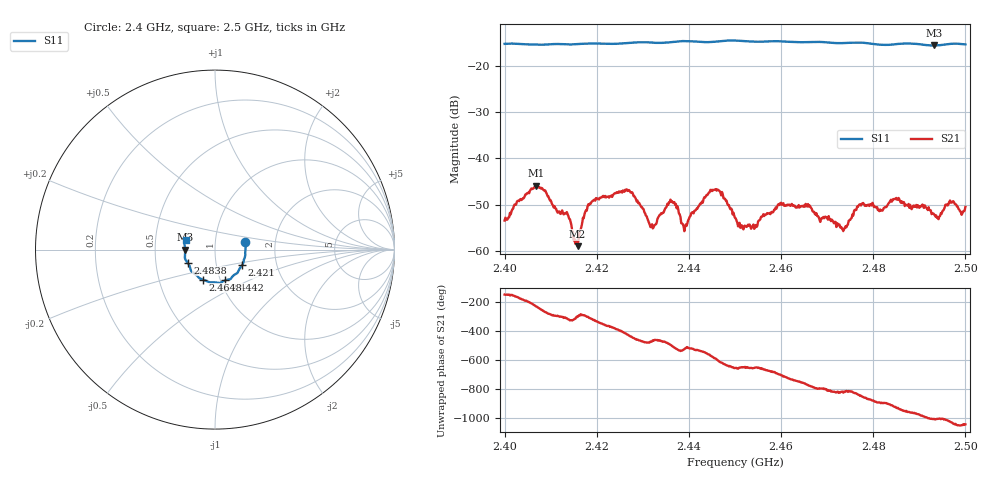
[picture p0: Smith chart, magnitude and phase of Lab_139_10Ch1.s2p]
# Hz S RI R 50
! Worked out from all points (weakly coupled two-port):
!   601 points, 2.4 GHz to 2.5 GHz, reference 50 ohm
!   highest |S21| = -45.90 dB at 2.4068 GHz (marker M1); lowest = -59.0 dB at 2.4158 GHz (marker M2)
!   lowest |S11| = -15.6 dB at 2.4932 GHz (marker M3), VSWR 1.40, Z = 35.8 - j0.0727 ohm
!   |S11| at or under -10 dB: start of sweep to end of sweep
!   S12 and S22 are empty: the file has one direction only
!   S11 on the Smith chart (normalised r, x): 2.4 GHz: 1.40, +0.12; 2.421 GHz: 1.33, -0.24; 2.4442 GHz: 1.05, -0.37; 2.4648 GHz: 0.83, -0.29; 2.4838 GHz: 0.73, -0.11; 2.5 GHz: 0.72, +0.08
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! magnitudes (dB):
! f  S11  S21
! 2.4 GHz  -15.3  -53.4
! 2.4068 GHz  -15.4  -45.9
! 2.4158 GHz  -15.3  -59.0
! 2.4167 GHz  -15.2  -54.8
! 2.421 GHz  -15.2  -48.4
! 2.4267 GHz  -15.1  -47.1
! 2.4318 GHz  -15.0  -54.7
! 2.4333 GHz  -15.0  -52.8
! 2.4363 GHz  -14.9  -49.3
! 2.4392 GHz  -14.6  -54.8
! 2.4442 GHz  -14.9  -47.7
! 2.4468 GHz  -14.7  -47.4
! 2.45 GHz  -14.5  -52.9
! 2.4538 GHz  -14.8  -54.8
! 2.4648 GHz  -14.9  -50.5
! 2.4667 GHz  -14.8  -50.9
! 2.4737 GHz  -15.1  -55.2
! 2.4773 GHz  -15.0  -50.2
! 2.4833 GHz  -15.5  -49.7
! 2.4838 GHz  -15.4  -48.9
! 2.4932 GHz  -15.6  -52.0
! 2.5 GHz  -15.4  -50.5
